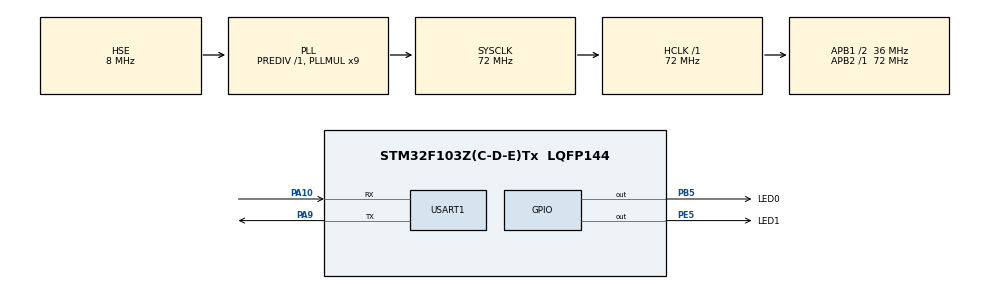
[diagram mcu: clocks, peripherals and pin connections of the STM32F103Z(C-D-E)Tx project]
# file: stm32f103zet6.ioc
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Dma.Request0=USART1_RX
Dma.Request1=USART1_TX
Dma.USART1_RX.0.Direction=DMA_PERIPH_TO_MEMORY
Dma.USART1_RX.0.Instance=DMA1_Channel5
Dma.USART1_RX.0.MemDataAlignment=DMA_MDATAALIGN_BYTE
Dma.USART1_RX.0.MemInc=DMA_MINC_ENABLE
Dma.USART1_RX.0.Mode=DMA_CIRCULAR
Dma.USART1_RX.0.PeriphDataAlignment=DMA_PDATAALIGN_BYTE
Dma.USART1_RX.0.PeriphInc=DMA_PINC_DISABLE
Dma.USART1_RX.0.Priority=DMA_PRIORITY_HIGH
Dma.USART1_TX.1.Direction=DMA_MEMORY_TO_PERIPH
Dma.USART1_TX.1.Instance=DMA1_Channel4
Dma.USART1_TX.1.MemDataAlignment=DMA_MDATAALIGN_BYTE
Dma.USART1_TX.1.MemInc=DMA_MINC_ENABLE
Dma.USART1_TX.1.Mode=DMA_NORMAL
Dma.USART1_TX.1.PeriphDataAlignment=DMA_PDATAALIGN_BYTE
Dma.USART1_TX.1.PeriphInc=DMA_PINC_DISABLE
Dma.USART1_TX.1.Priority=DMA_PRIORITY_MEDIUM
Mcu.Family=STM32F1
Mcu.Name=STM32F103Z(C-D-E)Tx
Mcu.Package=LQFP144
NVIC.DMA1_Channel4_IRQn=true\:0\:0\:false\:false\:false\:false\:true\:true
NVIC.DMA1_Channel5_IRQn=true\:0\:0\:false\:false\:false\:false\:true\:true
NVIC.PriorityGroup=NVIC_PRIORITYGROUP_4
NVIC.USART1_IRQn=true\:1\:0\:true\:false\:false\:true\:true\:true
OSC_IN.Mode=HSE-External-Oscillator
OSC_IN.Signal=RCC_OSC_IN
OSC_OUT.Mode=HSE-External-Oscillator
OSC_OUT.Signal=RCC_OSC_OUT
PA10.Mode=Asynchronous
PA10.Signal=USART1_RX
PA13.Mode=Serial_Wire
PA13.Signal=SYS_JTMS-SWDIO
PA14.Mode=Serial_Wire
PA14.Signal=SYS_JTCK-SWCLK
PA9.Mode=Asynchronous
PA9.Signal=USART1_TX
PB5.GPIO_Label=LED0
PB5.GPIO_ModeDefaultOutputPP=GPIO_MODE_OUTPUT_PP
PB5.GPIO_PuPd=GPIO_PULLDOWN
PB5.GPIO_Speed=GPIO_SPEED_FREQ_MEDIUM
PB5.Signal=GPIO_Output
PE5.GPIO_Label=LED1
PE5.GPIO_PuPd=GPIO_PULLDOWN
PE5.GPIO_Speed=GPIO_SPEED_FREQ_MEDIUM
PE5.Signal=GPIO_Output
ProjectManager.HeapSize=0x200
ProjectManager.StackSize=0x400
ProjectManager.TargetToolchain=MDK-ARM V5.32
RCC.AHBFreq_Value=72000000
RCC.APB1CLKDivider=RCC_HCLK_DIV2
RCC.APB1Freq_Value=36000000
RCC.APB1TimFreq_Value=72000000
RCC.APB2Freq_Value=72000000
RCC.APB2TimFreq_Value=72000000
RCC.HCLKFreq_Value=72000000
RCC.PLLMUL=RCC_PLL_MUL9
RCC.PLLSourceVirtual=RCC_PLLSOURCE_HSE
RCC.SYSCLKFreq_VALUE=72000000
RCC.SYSCLKSource=RCC_SYSCLKSOURCE_PLLCLK
RCC.USBFreq_Value=72000000
USART1.VirtualMode=VM_ASYNC
board=custom

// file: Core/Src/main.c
/* USER CODE BEGIN Header */
/**
  ******************************************************************************
  * @file           : main.c
  * @brief          : Main program body
  ******************************************************************************
  * @attention
  *
  * Copyright (c) 2025 STMicroelectronics.
  * All rights reserved.
  *
  * This software is licensed under terms that can be found in the LICENSE file
  * in the root directory of this software component.
  * If no LICENSE file comes with this software, it is provided AS-IS.
  *
  ******************************************************************************
  */
/* USER CODE END Header */
#include "main.h"
#include "dma.h"
#include "usart.h"
#include "gpio.h"

/* USER CODE BEGIN Includes */
#include "bsp_usart_hal.h"
#include "retarget_rtt.h"
/* USER CODE END Includes */

/* USER CODE BEGIN PTD */

extern DMA_HandleTypeDef hdma_usart1_rx;
extern DMA_HandleTypeDef hdma_usart1_tx;

//! USART1缓存 RX方向
uint8_t gUsart1RXDMABuffer[2048];
uint8_t gUsart1RXRBBuffer[2048];
//! USART1缓存 TX方向
uint8_t gUsart1TXDMABuffer[2048];
uint8_t gUsart1TXRBBuffer[2048];
//! 实例化Usart1
USART_Driver_t gUsart1Drv = {
    .huart = &huart1,
    .hdma_rx = &hdma_usart1_rx,
    .hdma_tx = &hdma_usart1_tx,
};

/* USER CODE END PTD */

void SystemClock_Config(void);

int main(void)
{
  /* USER CODE BEGIN 1 */
  uint32_t fre = 0;
  /* USER CODE END 1 */

  /* MCU Configuration--------------------------------------------------------*/

  /* Reset of all peripherals, Initializes the Flash interface and the Systick. */
  HAL_Init();

  /* Configure the system clock */
  SystemClock_Config();

  /* Initialize all configured peripherals */
  MX_GPIO_Init();
  MX_DMA_Init();
  MX_USART1_UART_Init();
  /* USER CODE BEGIN 2 */
  Retarget_RTT_Init(); //! RTT重定向printf
  //! USART1初始化
  USART_Config(&gUsart1Drv,
               gUsart1RXDMABuffer, gUsart1RXRBBuffer, sizeof(gUsart1RXDMABuffer),
               gUsart1TXDMABuffer, gUsart1TXRBBuffer, sizeof(gUsart1TXDMABuffer));

  log_printf("SysTick:%d\n", HAL_GetTick()); //! 往通道0写入消息
  /* USER CODE END 2 */

  /* Infinite loop */
  while (1)
  {

    /* USER CODE BEGIN 3 */
    //! 30ms
    if (0 == fre % 30) {
        HAL_GPIO_TogglePin(LED0_GPIO_Port,LED0_Pin);
    }

    //! 2ms
    if (0 == fre % 2) {
        //! 测试发送
//        const char *msg = "0123456789";
//        USART_Put_TxData_To_Ringbuffer(&gUsart1Drv, msg, strlen(msg));

        //! 处理已经接收的数据
        //! 连续从ringbuffer里拿出数据来解释，直到没有数据
//        while(USART_Get_The_Existing_Amount_Of_Data(&gUsart1Drv)) {
//            uint8_t data;
//            USART_Take_A_Piece_Of_Data(&gUsart1Drv, &data);
//            // 将data丢给data_process(data)，解析数据
//        }

        USART_Module_Run(&gUsart1Drv); //! Usart1模块运行
    }

    fre++;
    HAL_Delay(1);
  }
  /* USER CODE END 3 */
}

void SystemClock_Config(void)
{
  RCC_OscInitTypeDef RCC_OscInitStruct = {0};
  RCC_ClkInitTypeDef RCC_ClkInitStruct = {0};

  /** Initializes the RCC Oscillators according to the specified parameters
  * in the RCC_OscInitTypeDef structure.
  */
  RCC_OscInitStruct.OscillatorType = RCC_OSCILLATORTYPE_HSE;
  RCC_OscInitStruct.HSEState = RCC_HSE_ON;
  RCC_OscInitStruct.HSEPredivValue = RCC_HSE_PREDIV_DIV1;
  RCC_OscInitStruct.HSIState = RCC_HSI_ON;
  RCC_OscInitStruct.PLL.PLLState = RCC_PLL_ON;
  RCC_OscInitStruct.PLL.PLLSource = RCC_PLLSOURCE_HSE;
  RCC_OscInitStruct.PLL.PLLMUL = RCC_PLL_MUL9;
  if (HAL_RCC_OscConfig(&RCC_OscInitStruct) != HAL_OK)
  {
    Error_Handler();
  }

  /** Initializes the CPU, AHB and APB buses clocks
  */
  RCC_ClkInitStruct.ClockType = RCC_CLOCKTYPE_HCLK|RCC_CLOCKTYPE_SYSCLK
                              |RCC_CLOCKTYPE_PCLK1|RCC_CLOCKTYPE_PCLK2;
  RCC_ClkInitStruct.SYSCLKSource = RCC_SYSCLKSOURCE_PLLCLK;
  RCC_ClkInitStruct.AHBCLKDivider = RCC_SYSCLK_DIV1;
  RCC_ClkInitStruct.APB1CLKDivider = RCC_HCLK_DIV2;
  RCC_ClkInitStruct.APB2CLKDivider = RCC_HCLK_DIV1;

  if (HAL_RCC_ClockConfig(&RCC_ClkInitStruct, FLASH_LATENCY_2) != HAL_OK)
  {
    Error_Handler();
  }
}

void Error_Handler(void)
{
  __disable_irq();
  while (1)
  {
  }
}
